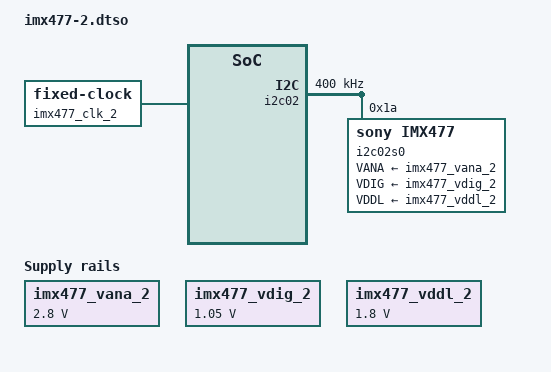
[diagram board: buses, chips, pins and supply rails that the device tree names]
// SPDX-License-Identifier: (GPL-2.0+ OR MIT)
/*
 * Copyright (c) 2024 SiMa ai
 */

/dts-v1/;
/plugin/;

/ {
    fragment@10 {
        target-path = "/"; /* Root node of the base tree */
        __overlay__ {
            imx477_vana_2: csi2_fixedregulator@0 {
                compatible = "regulator-fixed";
                regulator-name = "imx477_vana_2";
                regulator-min-microvolt = <2800000>;
                regulator-max-microvolt = <2800000>;
                enable-active-high;
                startup-delay-us = <300000>;
                regulator-always-on;
            };
            imx477_vdig_2: csi2_fixedregulator@1 {
                compatible = "regulator-fixed";
                regulator-name = "imx477_vdig_2";
                regulator-min-microvolt = <1050000>;
                regulator-max-microvolt = <1050000>;
                regulator-always-on;
            };
            imx477_vddl_2: csi2_fixedregulator@2 {
                compatible = "regulator-fixed";
                regulator-name = "imx477_vddl_2";
                regulator-min-microvolt = <1800000>;
                regulator-max-microvolt = <1800000>;
                regulator-always-on;
            };
            imx477_clk_2: csi2_camera-clk {
                compatible = "fixed-clock";
                #clock-cells = <0>;
                clock-frequency = <24000000>;
            };
        };
    };
};

&i2c02 {
	status = "okay";
	clock-frequency = <400000>;
	#address-cells = <1>;
	#size-cells = <0>;

        i2c02s0: sensor@1a {
            compatible = "sony,imx477";
            reg = <0x1a>;
            clocks = <&imx477_clk_2>;
            clock-names = "xclk";
            VANA-supply = <&imx477_vana_2>;
            VDIG-supply = <&imx477_vdig_2>;
            VDDL-supply = <&imx477_vddl_2>;
        };
};
